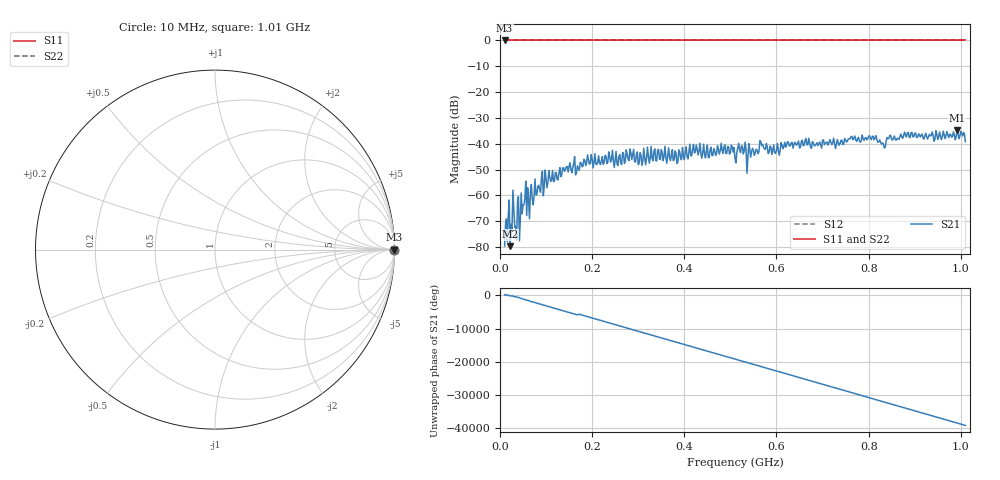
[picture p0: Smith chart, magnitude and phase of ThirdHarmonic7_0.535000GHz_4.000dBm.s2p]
! 8/17/2025 4:00:18 PM
! C:\ANRITSUVNA\TEMP\TEMP.S2P
! CHANNEL.1
! TR.MEASUREMENT
! RAW.DATA
! RF.CORRECTION.OFF
! AVERAGING.OFF
! IF.BANDWIDTH: 5KHZ
! SWEEPTYPE:  FREQ.SWEEP(Linear)
! Reference Plane Port Info
! PORT:  PORT1  PORT2
! DISTANCE:  0  m  0  m
! TIME:  0  s  0  s
! PHASE.OFFSET:  0  deg.  0  deg.
! LOSS:  0  dB  0  dB
! REF.LOSS:  0  dB  0  dB
! REF.FREQ:  0  Hz  0  Hz
! Power Info
! POWER:  -20  dBm  -20  dBm
! EFF.POWER:  -20  dBm  -20  dBm
! SOURCE.ATTEN:  0  dB  0  dB
! TEST.ATTEN:  0  dB  0  dB
# GHZ S RI R 50.0
! FREQ.GHZ  S11RE  S11IM  S21RE  S21IM  S12RE  S12IM  S22RE  S22IM
!; PortSelection: Port_12
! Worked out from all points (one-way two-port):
!   501 points, 10 MHz to 1.01 GHz, reference 50 ohm
!   highest |S21| = -34.64 dB at 992 MHz (marker M1); lowest = -79.7 dB at 22 MHz (marker M2)
!   lowest |S11| = 0.0 dB at 10 MHz (marker M3)
!   |S11| at or under -10 dB: nowhere
!   |S22| runs from 0.0 to 0.0 dB; largest |S21 - S12| = 1
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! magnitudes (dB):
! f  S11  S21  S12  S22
! 10 MHz  0.0  -79.6  0.0  0.0
! 16 MHz  0.0  -77.9  0.0  0.0
! 22 MHz  0.0  -79.7  0.0  0.0
! 40 MHz  0.0  -60.5  0.0  0.0
! 42 MHz  0.0  -77.6  0.0  0.0
! 56 MHz  0.0  -54.5  0.0  0.0
! 62 MHz  0.0  -61.8  0.0  0.0
! 94 MHz  0.0  -60.2  0.0  0.0
! 178 MHz  0.0  -48.9  0.0  0.0
! 344 MHz  0.0  -42.2  0.0  0.0
! 484 MHz  0.0  -43.7  0.0  0.0
! 510 MHz  0.0  -45.6  0.0  0.0
! 528 MHz  0.0  -44.0  0.0  0.0
! 540 MHz  0.0  -40.0  0.0  0.0
! 568 MHz  0.0  -40.7  0.0  0.0
! 594 MHz  0.0  -40.5  0.0  0.0
! 678 MHz  0.0  -39.2  0.0  0.0
! 812 MHz  0.0  -38.5  0.0  0.0
! 832 MHz  0.0  -40.0  0.0  0.0
! 844 MHz  0.0  -37.9  0.0  0.0
! 992 MHz  0.0  -34.6  0.0  0.0
! 1.01 GHz  0.0  -39.2  0.0  0.0
